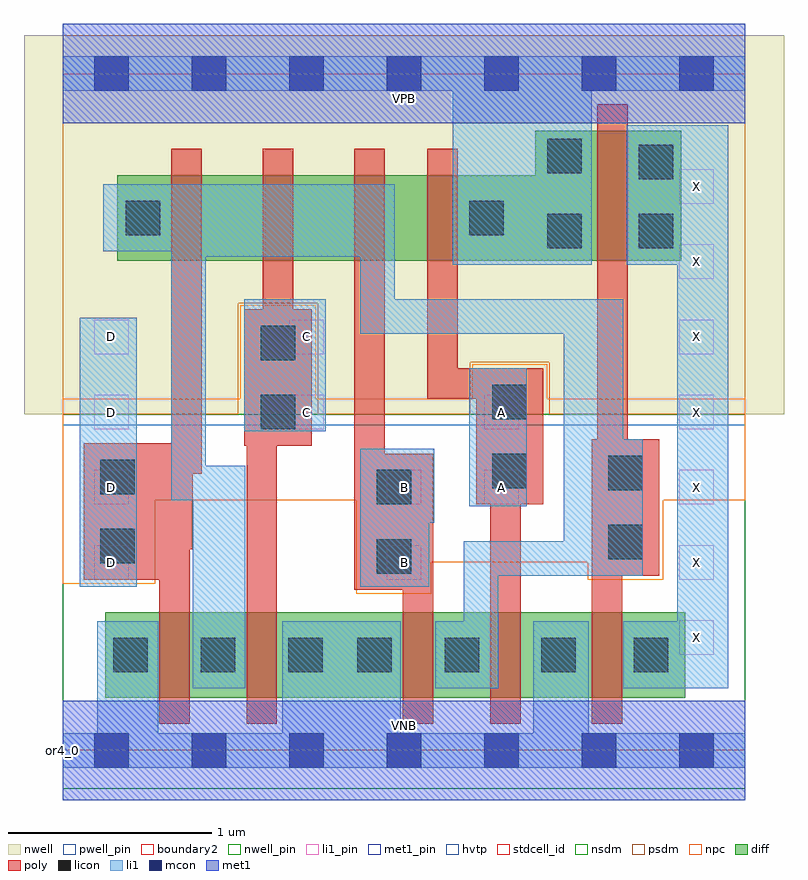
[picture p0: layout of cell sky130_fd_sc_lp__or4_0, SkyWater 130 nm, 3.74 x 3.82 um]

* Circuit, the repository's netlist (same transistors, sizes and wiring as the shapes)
* Copyright 2020 The SkyWater PDK Authors
*
* Licensed under the Apache License, Version 2.0 (the "License");
* you may not use this file except in compliance with the License.
* You may obtain a copy of the License at
*
*     https://www.apache.org/licenses/LICENSE-2.0
*
* Unless required by applicable law or agreed to in writing, software
* distributed under the License is distributed on an "AS IS" BASIS,
* WITHOUT WARRANTIES OR CONDITIONS OF ANY KIND, either express or implied.
* See the License for the specific language governing permissions and
* limitations under the License.
*
* SPDX-License-Identifier: Apache-2.0

.SUBCKT sky130_fd_sc_lp__or4_0 A B C D VGND VNB VPB VPWR X
*.PININFO A:I B:I C:I D:I VGND:I VNB:I VPB:I VPWR:I X:O
MMP0 VPWR A sndPA VPB sky130_fd_pr__pfet_01v8_hvt m=1 w=0.42U l=0.15U mult=1 sa=0.265
+ sb=0.265 sd=0.28 area=0.063 perim=1.14
MMP1 sndPA B sndPB VPB sky130_fd_pr__pfet_01v8_hvt m=1 w=0.42U l=0.15U mult=1 sa=0.265
+ sb=0.265 sd=0.28 area=0.063 perim=1.14
MMP2 sndPB C sndPC VPB sky130_fd_pr__pfet_01v8_hvt m=1 w=0.42U l=0.15U mult=1 sa=0.265
+ sb=0.265 sd=0.28 area=0.063 perim=1.14
MMP3 sndPC D y VPB sky130_fd_pr__pfet_01v8_hvt m=1 w=0.42U l=0.15U mult=1 sa=0.265
+ sb=0.265 sd=0.28 area=0.063 perim=1.14
MMIP4 X y VPWR VPB sky130_fd_pr__pfet_01v8_hvt m=1 w=0.64U l=0.15U mult=1 sa=0.265
+ sb=0.265 sd=0.28 area=0.063 perim=1.14
MMN0 y A VGND VNB sky130_fd_pr__nfet_01v8 m=1 w=0.42U l=0.15U mult=1 sa=0.265 sb=0.265
+ sd=0.28 area=0.063 perim=1.14
MMN1 y B VGND VNB sky130_fd_pr__nfet_01v8 m=1 w=0.42U l=0.15U mult=1 sa=0.265 sb=0.265
+ sd=0.28 area=0.063 perim=1.14
MMN2 y C VGND VNB sky130_fd_pr__nfet_01v8 m=1 w=0.42U l=0.15U mult=1 sa=0.265 sb=0.265
+ sd=0.28 area=0.063 perim=1.14
MMN3 y D VGND VNB sky130_fd_pr__nfet_01v8 m=1 w=0.42U l=0.15U mult=1 sa=0.265 sb=0.265
+ sd=0.28 area=0.063 perim=1.14
MMIN4 X y VGND VNB sky130_fd_pr__nfet_01v8 m=1 w=0.42U l=0.15U mult=1 sa=0.265
+ sb=0.265 sd=0.28 area=0.063 perim=1.14
.ENDS sky130_fd_sc_lp__or4_0

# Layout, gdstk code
import gdstk
lib = gdstk.Library(unit=1e-6, precision=1e-09)
def R(c, l, rs):  # rectangles x0, y0, x1, y1
    for r in rs: c.add(gdstk.rectangle(r[:2], r[2:], *l))
def A(c, l, x, y, w, h, nx, ny, dx, dy):  # array of equal rectangles
    R(c, l, [(x+i*dx, y+j*dy, x+i*dx+w, y+j*dy+h) for i in range(nx) for j in range(ny)])
def P(c, l, *ps):  # polygons
    for p in ps: c.add(gdstk.Polygon(p, *l))
nwell_pin = (64, 16)
nwell = (64, 20)
diff = (65, 20)
poly = (66, 20)
licon = (66, 44)
li1_pin = (67, 16)
li1 = (67, 20)
mcon = (67, 44)
met1_pin = (68, 16)
met1 = (68, 20)
hvtp = (78, 44)
stdcell_id = (81, 4)
nsdm = (93, 44)
psdm = (94, 20)
npc = (95, 20)
pwell_pin = (122, 16)
boundary2 = (236, 0)

sky130_fd_sc_lp__or4_0 = lib.new_cell('sky130_fd_sc_lp__or4_0')
R(sky130_fd_sc_lp__or4_0, nwell_pin, [(0,3.085,3.36,3.33)])
R(sky130_fd_sc_lp__or4_0, nwell, [(-0.19,1.655,3.55,3.52)])
R(sky130_fd_sc_lp__or4_0, diff, [(0.21,0.26,3.065,0.68)])
P(sky130_fd_sc_lp__or4_0, diff, [(3.045,3.05),(2.325,3.05),(2.325,2.83),(0.27,2.83),(0.27,2.41),(3.045,2.41)])
P(sky130_fd_sc_lp__or4_0, poly, [(1.225,2.17),(1.135,2.17),(1.135,2.96),(0.985,2.96),(0.985,2.17),(0.895,2.17),(0.895,1.5),(0.905,1.5),(0.905,0.13),(1.055,0.13),(1.055,1.5),(1.225,1.5)],
  [(1.825,1.46),(1.585,1.46),(1.585,2.96),(1.435,2.96),(1.435,0.79),(1.675,0.79),(1.675,0.13),(1.825,0.13)],
  [(2.935,1.53),(2.78,1.53),(2.78,3.18),(2.63,3.18),(2.63,1.53),(2.605,1.53),(2.605,0.13),(2.755,0.13),(2.755,0.86),(2.935,0.86)],
  [(0.685,2.96),(0.535,2.96),(0.535,1.51),(0.105,1.51),(0.105,0.84),(0.475,0.84),(0.475,0.13),(0.625,0.13),(0.625,0.99),(0.64,0.99),(0.64,1.36),(0.685,1.36)],
  [(2.365,1.88),(1.945,1.88),(1.945,2.96),(1.795,2.96),(1.795,1.73),(2.035,1.73),(2.035,1.21),(2.105,1.21),(2.105,0.13),(2.255,0.13),(2.255,1.21),(2.365,1.21)])
A(sky130_fd_sc_lp__or4_0, licon, 0.25, 0.385, 0.17, 0.17, 3, 1, 0.43, 0)
R(sky130_fd_sc_lp__or4_0, licon, [(1.45,0.385,1.62,0.555), (1.88,0.385,2.05,0.555), (2.355,0.385,2.525,0.555), (2.81,0.385,2.98,0.555), (1.545,0.87,1.715,1.04), (0.185,0.92,0.355,1.09), (2.685,0.94,2.855,1.11), (1.545,1.21,1.715,1.38), (0.185,1.26,0.355,1.43), (2.685,1.28,2.855,1.45), (2.115,1.29,2.285,1.46), (0.975,1.58,1.145,1.75), (2.115,1.63,2.285,1.8), (0.975,1.92,1.145,2.09), (2.385,2.47,2.555,2.64), (2.835,2.47,3.005,2.64), (0.31,2.535,0.48,2.705), (2,2.535,2.17,2.705), (2.835,2.81,3.005,2.98), (2.385,2.84,2.555,3.01)])
A(sky130_fd_sc_lp__or4_0, li1_pin, 3.035, 0.47, 0.17, 0.17, 1, 3, 0, 0.74)
A(sky130_fd_sc_lp__or4_0, li1_pin, 0.155, 0.84, 0.17, 0.17, 3, 1, 1.44, 0)
A(sky130_fd_sc_lp__or4_0, li1_pin, 0.155, 1.58, 0.17, 0.17, 4, 1, 0.96, 0)
R(sky130_fd_sc_lp__or4_0, li1_pin, [(0.155,1.21,0.325,1.38), (1.595,1.21,1.765,1.38), (2.075,1.21,2.245,1.38), (0.155,1.95,0.325,2.12), (1.115,1.95,1.285,2.12), (3.035,2.32,3.205,2.49), (3.035,2.69,3.205,2.86)])
R(sky130_fd_sc_lp__or4_0, li1, [(0.085,0.805,0.365,2.13), (2,1.2,2.285,1.88), (0.895,1.57,1.295,2.22)])
P(sky130_fd_sc_lp__or4_0, li1, [(3.275,3.075),(2.775,3.075),(2.775,2.39),(3.025,2.39),(3.025,0.635),(2.76,0.635),(2.76,0.305),(3.275,0.305)],
  [(3.36,0.085),(2.59,0.085),(2.59,0.635),(2.315,0.635),(2.315,0.085),(1.665,0.085),(1.665,0.635),(1.08,0.635),(1.08,0.085),(0.47,0.085),(0.47,0.635),(0.17,0.635),(0.17,0.085),(0,0.085),(0,-0.085),(3.36,-0.085)],
  [(1.83,1.485),(1.465,1.485),(1.465,0.805),(1.805,0.805),(1.805,1.12),(1.83,1.12)],
  [(2.855,1.53),(2.76,1.53),(2.76,2.22),(1.635,2.22),(1.635,2.785),(0.2,2.785),(0.2,2.455),(0.535,2.455),(0.535,1.23),(0.64,1.23),(0.64,0.305),(0.9,0.305),(0.9,1.4),(0.705,1.4),(0.705,2.43),(1.465,2.43),(1.465,2.05),(2.465,2.05),(2.465,1.03),(1.975,1.03),(1.975,0.635),(1.835,0.635),(1.835,0.305),(2.145,0.305),(2.145,0.86),(2.855,0.86)],
  [(3.36,3.415),(0,3.415),(0,3.245),(1.92,3.245),(1.92,2.39),(2.605,2.39),(2.605,3.245),(3.36,3.245)])
A(sky130_fd_sc_lp__or4_0, mcon, 0.155, -0.085, 0.17, 0.17, 7, 2, 0.48, 3.33)
R(sky130_fd_sc_lp__or4_0, met1_pin, [(0,0,3.36,0.245), (0,3.085,3.36,3.33)])
R(sky130_fd_sc_lp__or4_0, met1, [(0,-0.245,3.36,0.245), (0,3.085,3.36,3.575)])
R(sky130_fd_sc_lp__or4_0, hvtp, [(0,1.6,3.36,3.33)])
R(sky130_fd_sc_lp__or4_0, stdcell_id, [(0,0,3.36,3.33)])
R(sky130_fd_sc_lp__or4_0, nsdm, [(0,-0.19,3.36,1.655)])
P(sky130_fd_sc_lp__or4_0, psdm, [(3.36,3.52),(0,3.52),(0,1.655),(0.865,1.655),(0.865,2.2),(1.255,2.2),(1.255,1.655),(2.005,1.655),(2.005,1.91),(2.395,1.91),(2.395,1.655),(3.36,1.655)])
P(sky130_fd_sc_lp__or4_0, npc, [(3.36,1.73),(2.385,1.73),(2.385,1.9),(2.015,1.9),(2.015,1.73),(1.245,1.73),(1.245,2.19),(0.875,2.19),(0.875,1.73),(0,1.73),(0,0.82),(0.455,0.82),(0.455,1.23),(1.445,1.23),(1.445,0.77),(1.815,0.77),(1.815,0.925),(2.585,0.925),(2.585,0.84),(2.955,0.84),(2.955,1.23),(3.36,1.23)])
R(sky130_fd_sc_lp__or4_0, pwell_pin, [(0,0,3.36,0.245)])
R(sky130_fd_sc_lp__or4_0, boundary2, [(0,0,3.36,3.33)])
sky130_fd_sc_lp__or4_0.add(gdstk.Label('VNB', (1.68,0.123), layer=64, texttype=59))
sky130_fd_sc_lp__or4_0.add(gdstk.Label('VPB', (1.68,3.208), layer=64, texttype=5))
sky130_fd_sc_lp__or4_0.add(gdstk.Label('or4_0', (0,0), layer=83, texttype=44))
sky130_fd_sc_lp__or4_0.add(gdstk.Label('VPWR', (1.68,3.208), layer=68, texttype=5))
sky130_fd_sc_lp__or4_0.add(gdstk.Label('VGND', (1.68,0.123), layer=68, texttype=5))
sky130_fd_sc_lp__or4_0.add(gdstk.Label('A', (2.16,1.295), layer=67, texttype=5))
sky130_fd_sc_lp__or4_0.add(gdstk.Label('A', (2.16,1.665), layer=67, texttype=5))
sky130_fd_sc_lp__or4_0.add(gdstk.Label('B', (1.68,0.925), layer=67, texttype=5))
sky130_fd_sc_lp__or4_0.add(gdstk.Label('B', (1.68,1.295), layer=67, texttype=5))
sky130_fd_sc_lp__or4_0.add(gdstk.Label('C', (1.2,1.665), layer=67, texttype=5))
sky130_fd_sc_lp__or4_0.add(gdstk.Label('C', (1.2,2.035), layer=67, texttype=5))
sky130_fd_sc_lp__or4_0.add(gdstk.Label('D', (0.24,0.925), layer=67, texttype=5))
sky130_fd_sc_lp__or4_0.add(gdstk.Label('D', (0.24,1.295), layer=67, texttype=5))
sky130_fd_sc_lp__or4_0.add(gdstk.Label('D', (0.24,1.665), layer=67, texttype=5))
sky130_fd_sc_lp__or4_0.add(gdstk.Label('D', (0.24,2.035), layer=67, texttype=5))
sky130_fd_sc_lp__or4_0.add(gdstk.Label('X', (3.12,0.555), layer=67, texttype=5))
sky130_fd_sc_lp__or4_0.add(gdstk.Label('X', (3.12,0.925), layer=67, texttype=5))
sky130_fd_sc_lp__or4_0.add(gdstk.Label('X', (3.12,1.295), layer=67, texttype=5))
sky130_fd_sc_lp__or4_0.add(gdstk.Label('X', (3.12,1.665), layer=67, texttype=5))
sky130_fd_sc_lp__or4_0.add(gdstk.Label('X', (3.12,2.035), layer=67, texttype=5))
sky130_fd_sc_lp__or4_0.add(gdstk.Label('X', (3.12,2.405), layer=67, texttype=5))
sky130_fd_sc_lp__or4_0.add(gdstk.Label('X', (3.12,2.775), layer=67, texttype=5))

lib.write_gds('sky130_fd_sc_lp__or4_0.gds')
